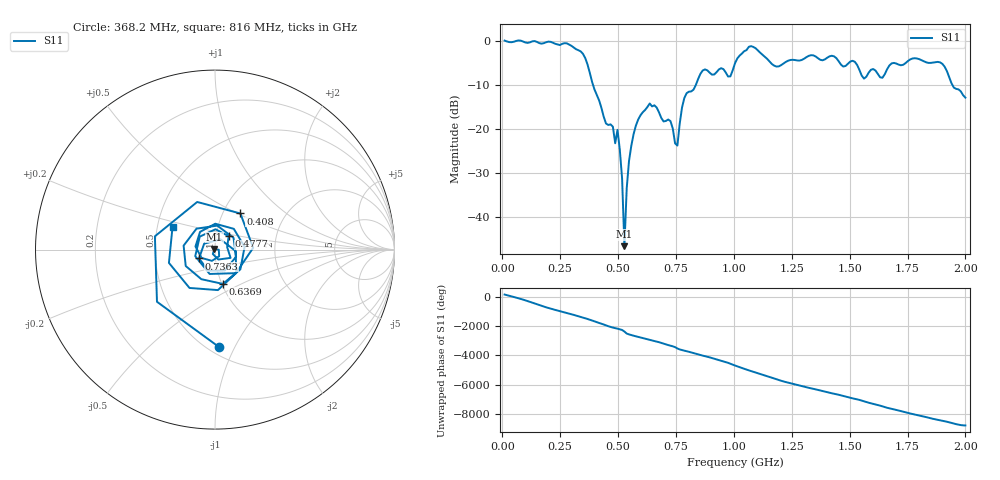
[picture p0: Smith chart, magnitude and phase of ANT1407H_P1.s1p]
!Created with skrf (http://scikit-rf.org).
# Hz S RI R 50.0
!freq ReS11 ImS11
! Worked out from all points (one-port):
!   201 points, 10 MHz to 2 GHz, reference 50 ohm
!   lowest |S11| = -46.6 dB at 527.4 MHz (marker M1), VSWR 1.01, Z = 49.7 + j0.318 ohm
!   |S11| at or under -10 dB: 392.3 MHz to 835.3 MHz (443 MHz wide, 72.2 % of centre); 1.945 GHz to end of sweep
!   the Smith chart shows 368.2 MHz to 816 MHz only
!   S11 on the Smith chart (normalised r, x): 368.2 MHz: 0.56, -0.87; 408 MHz: 1.21, +0.52; 477.6 MHz: 1.15, +0.17; 636.9 MHz: 1.01, -0.40; 736.4 MHz: 0.83, -0.08; 816 MHz: 0.60, +0.17
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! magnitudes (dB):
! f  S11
! 10 MHz  0.2
! 258.8 MHz  -0.6
! 368.2 MHz  -5.3
! 408 MHz  -12.2
! 477.6 MHz  -19.4
! 487.6 MHz  -23.2
! 497.6 MHz  -20.1
! 507.5 MHz  -24.7
! 517.5 MHz  -31.3
! 527.4 MHz  -46.6
! 537.4 MHz  -33.4
! 557.2 MHz  -23.7
! 636.9 MHz  -14.2
! 736.4 MHz  -19.9
! 756.2 MHz  -23.7
! 786.1 MHz  -12.9
! 816 MHz  -11.4
! 865.7 MHz  -6.6
! 985.1 MHz  -8.0
! 1.005 GHz  -5.0
! 1.075 GHz  -1.1
! 1.184 GHz  -5.8
! 1.254 GHz  -4.2
! 1.502 GHz  -4.6
! 1.562 GHz  -8.5
! 1.751 GHz  -4.5
! 1.891 GHz  -4.8
! 2 GHz  -12.8
